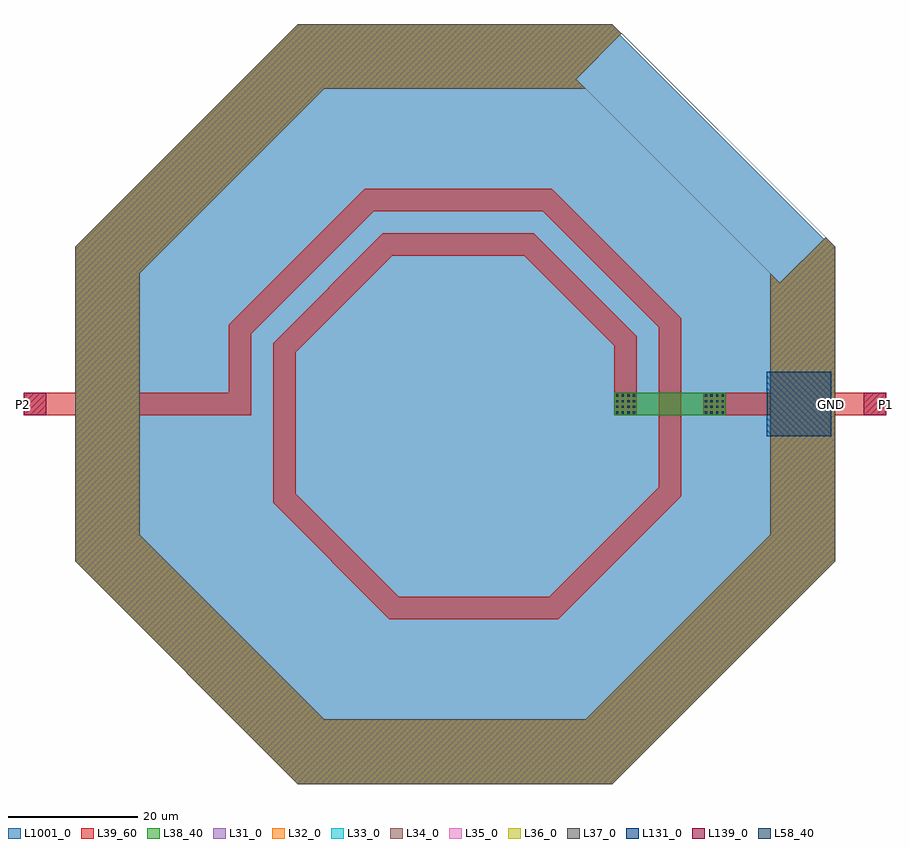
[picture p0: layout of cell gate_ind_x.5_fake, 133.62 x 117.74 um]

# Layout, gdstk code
import gdstk
lib = gdstk.Library(unit=1e-6, precision=1e-09)
def R(c, l, rs):  # rectangles x0, y0, x1, y1
    for r in rs: c.add(gdstk.rectangle(r[:2], r[2:], *l))
def A(c, l, x, y, w, h, nx, ny, dx, dy):  # array of equal rectangles
    R(c, l, [(x+i*dx, y+j*dy, x+i*dx+w, y+j*dy+h) for i in range(nx) for j in range(ny)])
def P(c, l, *ps):  # polygons
    for p in ps: c.add(gdstk.Polygon(p, *l))
L31_0 = (31, 0)
L32_0 = (32, 0)
L33_0 = (33, 0)
L34_0 = (34, 0)
L35_0 = (35, 0)
L36_0 = (36, 0)
L37_0 = (37, 0)
L38_40 = (38, 40)
L39_60 = (39, 60)
L58_40 = (58, 40)
L131_0 = (131, 0)
L139_0 = (139, 0)
L1001_0 = (1001, 0)

gate_ind_x_5_fake = lib.new_cell('gate_ind_x.5_fake')
P(gate_ind_x_5_fake, L31_0, [(50.334,18.778),(57.405,25.849),(24.384,58.869),(-24.384,58.869),(-58.869,24.384),(-58.869,-24.384),(-24.384,-58.869),(24.384,-58.869),(58.869,-24.384),(58.869,24.384),(25.849,57.405),(18.778,50.334),(48.869,20.242),(48.869,-20.242),(20.242,-48.869),(-20.242,-48.869),(-48.869,-20.242),(-48.869,20.242),(-20.242,48.869),(20.242,48.869)])
P(gate_ind_x_5_fake, L32_0, [(50.334,18.778),(57.405,25.849),(24.384,58.869),(-24.384,58.869),(-58.869,24.384),(-58.869,-24.384),(-24.384,-58.869),(24.384,-58.869),(58.869,-24.384),(58.869,24.384),(25.849,57.405),(18.778,50.334),(48.869,20.242),(48.869,-20.242),(20.242,-48.869),(-20.242,-48.869),(-48.869,-20.242),(-48.869,20.242),(-20.242,48.869),(20.242,48.869)])
P(gate_ind_x_5_fake, L33_0, [(50.334,18.778),(57.405,25.849),(24.384,58.869),(-24.384,58.869),(-58.869,24.384),(-58.869,-24.384),(-24.384,-58.869),(24.384,-58.869),(58.869,-24.384),(58.869,24.384),(25.849,57.405),(18.778,50.334),(48.869,20.242),(48.869,-20.242),(20.242,-48.869),(-20.242,-48.869),(-48.869,-20.242),(-48.869,20.242),(-20.242,48.869),(20.242,48.869)])
P(gate_ind_x_5_fake, L34_0, [(50.334,18.778),(57.405,25.849),(24.384,58.869),(-24.384,58.869),(-58.869,24.384),(-58.869,-24.384),(-24.384,-58.869),(24.384,-58.869),(58.869,-24.384),(58.869,24.384),(25.849,57.405),(18.778,50.334),(48.869,20.242),(48.869,-20.242),(20.242,-48.869),(-20.242,-48.869),(-48.869,-20.242),(-48.869,20.242),(-20.242,48.869),(20.242,48.869)])
P(gate_ind_x_5_fake, L35_0, [(50.334,18.778),(57.405,25.849),(24.384,58.869),(-24.384,58.869),(-58.869,24.384),(-58.869,-24.384),(-24.384,-58.869),(24.384,-58.869),(58.869,-24.384),(58.869,24.384),(25.849,57.405),(18.778,50.334),(48.869,20.242),(48.869,-20.242),(20.242,-48.869),(-20.242,-48.869),(-48.869,-20.242),(-48.869,20.242),(-20.242,48.869),(20.242,48.869)])
P(gate_ind_x_5_fake, L36_0, [(50.334,18.778),(57.405,25.849),(24.384,58.869),(-24.384,58.869),(-58.869,24.384),(-58.869,-24.384),(-24.384,-58.869),(24.384,-58.869),(58.869,-24.384),(58.869,24.384),(25.849,57.405),(18.778,50.334),(48.869,20.242),(48.869,-20.242),(20.242,-48.869),(-20.242,-48.869),(-48.869,-20.242),(-48.869,20.242),(-20.242,48.869),(20.242,48.869)])
P(gate_ind_x_5_fake, L37_0, [(50.334,18.778),(57.405,25.849),(24.384,58.869),(-24.384,58.869),(-58.869,24.384),(-58.869,-24.384),(-24.384,-58.869),(24.384,-58.869),(58.869,-24.384),(58.869,24.384),(25.849,57.405),(18.778,50.334),(48.869,20.242),(48.869,-20.242),(20.242,-48.869),(-20.242,-48.869),(-48.869,-20.242),(-48.869,20.242),(-20.242,48.869),(20.242,48.869)])
R(gate_ind_x_5_fake, L38_40, [(24.685,-1.75,41.935,1.75)])
P(gate_ind_x_5_fake, L38_40, [(50.334,18.778),(57.405,25.849),(24.384,58.869),(-24.384,58.869),(-58.869,24.384),(-58.869,-24.384),(-24.384,-58.869),(24.384,-58.869),(58.869,-24.384),(58.869,24.384),(25.849,57.405),(18.778,50.334),(48.869,20.242),(48.869,-20.242),(20.242,-48.869),(-20.242,-48.869),(-48.869,-20.242),(-48.869,20.242),(-20.242,48.869),(20.242,48.869)])
R(gate_ind_x_5_fake, L39_60, [(-66.81,-1.75,-31.56,1.75), (38.435,-1.75,66.81,1.75)])
P(gate_ind_x_5_fake, L39_60, [(24.685,-1.75),(28.185,-1.75),(28.185,10.46),(12.175,26.465),(-11.17,26.465),(-28.185,9.45),(-28.185,-15.32),(-10.165,-33.34),(16.03,-33.34),(35.06,-14.315),(35.06,13.305),(15.025,33.34),(-14.02,33.34),(-35.06,12.3),(-35.06,0),(-31.56,0),(-31.56,10.85),(-12.57,29.84),(13.575,29.84),(31.56,11.855),(31.56,-12.865),(14.58,-29.84),(-8.715,-29.84),(-24.685,-13.87),(-24.685,8),(-9.72,22.965),(10.725,22.965),(24.685,9.01)],
  [(50.334,18.778),(57.405,25.849),(24.384,58.869),(-24.384,58.869),(-58.869,24.384),(-58.869,-24.384),(-24.384,-58.869),(24.384,-58.869),(58.869,-24.384),(58.869,24.384),(25.849,57.405),(18.778,50.334),(48.869,20.242),(48.869,-20.242),(20.242,-48.869),(-20.242,-48.869),(-48.869,-20.242),(-48.869,20.242),(-20.242,48.869),(20.242,48.869)])
A(gate_ind_x_5_fake, L58_40, 24.953, -1.48, 0.35, 0.35, 4, 4, 0.87, 0.87)
A(gate_ind_x_5_fake, L58_40, 38.703, -1.48, 0.35, 0.35, 4, 4, 0.87, 0.87)
R(gate_ind_x_5_fake, L131_0, [(48.31,-5,58.31,5)])
R(gate_ind_x_5_fake, L139_0, [(-66.81,-1.75,-63.31,1.75), (63.31,-1.75,66.81,1.75)])
P(gate_ind_x_5_fake, L1001_0, [(58.489,24.227),(24.227,58.489),(-24.227,58.489),(-58.489,24.227),(-58.489,-24.227),(-24.227,-58.489),(24.227,-58.489),(58.489,-24.227)],
  [(58.489,24.227),(24.227,58.489),(-24.227,58.489),(-58.489,24.227),(-58.489,-24.227),(-24.227,-58.489),(24.227,-58.489),(58.489,-24.227)],
  [(58.489,24.227),(24.227,58.489),(-24.227,58.489),(-58.489,24.227),(-58.489,-24.227),(-24.227,-58.489),(24.227,-58.489),(58.489,-24.227)],
  [(58.489,24.227),(24.227,58.489),(-24.227,58.489),(-58.489,24.227),(-58.489,-24.227),(-24.227,-58.489),(24.227,-58.489),(58.489,-24.227)],
  [(58.489,24.227),(24.227,58.489),(-24.227,58.489),(-58.489,24.227),(-58.489,-24.227),(-24.227,-58.489),(24.227,-58.489),(58.489,-24.227)],
  [(58.489,24.227),(24.227,58.489),(-24.227,58.489),(-58.489,24.227),(-58.489,-24.227),(-24.227,-58.489),(24.227,-58.489),(58.489,-24.227)],
  [(58.489,24.227),(24.227,58.489),(-24.227,58.489),(-58.489,24.227),(-58.489,-24.227),(-24.227,-58.489),(24.227,-58.489),(58.489,-24.227)],
  [(58.489,24.227),(24.227,58.489),(-24.227,58.489),(-58.489,24.227),(-58.489,-24.227),(-24.227,-58.489),(24.227,-58.489),(58.489,-24.227)],
  [(58.489,24.227),(24.227,58.489),(-24.227,58.489),(-58.489,24.227),(-58.489,-24.227),(-24.227,-58.489),(24.227,-58.489),(58.489,-24.227)])
gate_ind_x_5_fake.add(gdstk.Label('P1', (66.808,0), layer=139, texttype=0))
gate_ind_x_5_fake.add(gdstk.Label('P2', (-66.808,0), layer=139, texttype=0))
gate_ind_x_5_fake.add(gdstk.Label('GND', (58.308,0), layer=131, texttype=0))

lib.write_gds('gate_ind_x.5_fake.gds')
